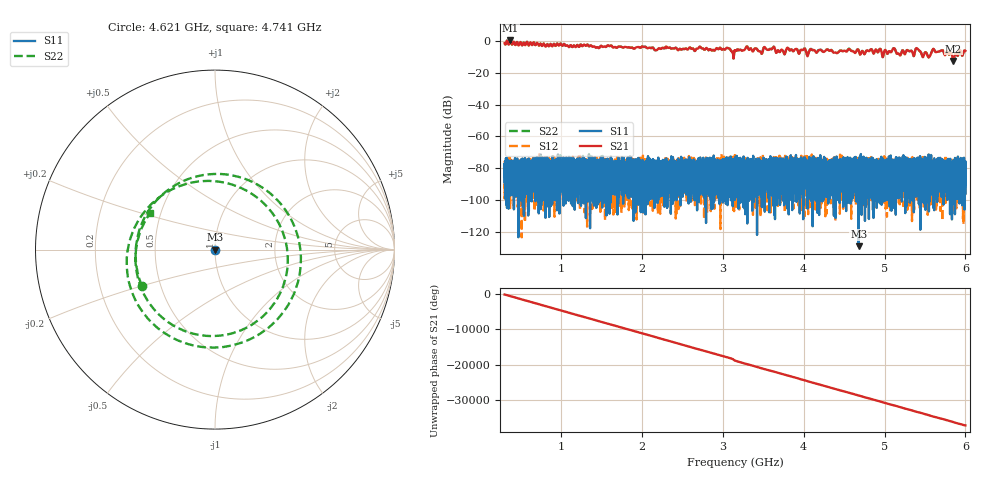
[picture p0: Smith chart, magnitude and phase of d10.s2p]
!Agilent Technologies,N5230C,SG49000117,A.08.50.07
!Agilent N5230C: A.08.50.07
!Date: Sunday, March 17, 2024 03:01:15
!Correction: S11(Off)
!S21(Off)
!S12(Off)
!S22(Off)
!S2P File: Measurements: S11, S21, S12, S22:
# Hz S  RI  R 50
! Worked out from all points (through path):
!   20001 points, 300 MHz to 6 GHz, reference 50 ohm
!   highest |S21| = 0.23 dB at 371.2 MHz (marker M1); lowest = -12.7 dB at 5.852 GHz (marker M2)
!   lowest |S11| = -129.0 dB at 4.68 GHz (marker M3), VSWR 1.00, Z = 50 - j3.32e-05 ohm
!   |S11| at or under -10 dB: start of sweep to end of sweep
!   |S22| runs from -12.7 to 0.3 dB; largest |S21 - S12| = 1
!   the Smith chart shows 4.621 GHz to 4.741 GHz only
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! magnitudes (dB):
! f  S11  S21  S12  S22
! 300 MHz  -85.4  -1.4  -82.0  -1.4
! 371.2 MHz  -75.5  0.2  -94.6  0.3
! 1.25 GHz  -76.1  -2.7  -77.9  -2.7
! 2.2 GHz  -82.1  -5.0  -84.1  -5.0
! 3.062 GHz  -92.0  -4.6  -94.8  -4.6
! 3.15 GHz  -75.0  -6.1  -85.4  -6.0
! 3.295 GHz  -88.4  -3.5  -78.4  -3.5
! 3.465 GHz  -88.9  -6.8  -83.2  -6.8
! 3.524 GHz  -76.2  -4.4  -78.0  -4.3
! 3.68 GHz  -82.8  -5.9  -103.8  -5.8
! 3.995 GHz  -79.9  -5.6  -85.4  -5.5
! 4.049 GHz  -81.5  -9.5  -77.2  -9.4
! 4.1 GHz  -90.9  -5.5  -76.6  -5.4
! 4.68 GHz  -129.0  -6.0  -94.0  -5.9
! 5.05 GHz  -77.0  -6.9  -80.8  -6.9
! 5.35 GHz  -74.2  -8.1  -89.2  -8.1
! 5.407 GHz  -73.4  -4.9  -77.4  -4.9
! 5.549 GHz  -107.2  -10.3  -83.1  -10.3
! 5.602 GHz  -81.0  -5.0  -79.1  -5.1
! 5.703 GHz  -83.8  -6.1  -81.3  -6.1
! 5.852 GHz  -84.1  -12.7  -76.3  -12.7
! 6 GHz  -82.7  -6.3  -78.0  -6.3
